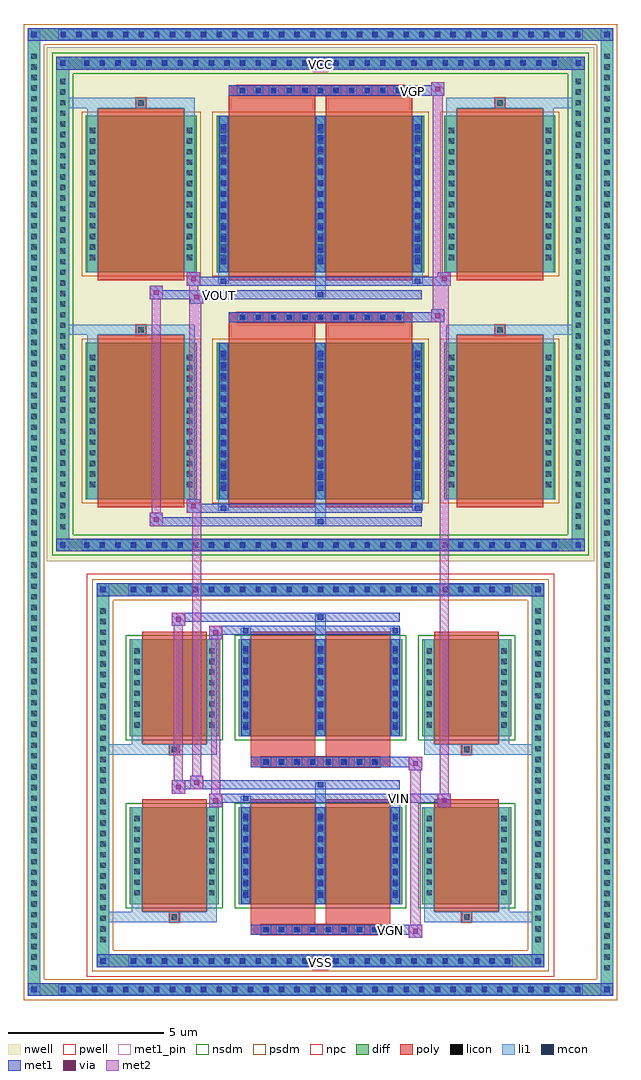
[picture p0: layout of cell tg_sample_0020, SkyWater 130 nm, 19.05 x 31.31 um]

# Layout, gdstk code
import gdstk
lib = gdstk.Library(unit=1e-6, precision=5e-09)
def R(c, l, rs):  # rectangles x0, y0, x1, y1
    for r in rs: c.add(gdstk.rectangle(r[:2], r[2:], *l))
def A(c, l, x, y, w, h, nx, ny, dx, dy):  # array of equal rectangles
    R(c, l, [(x+i*dx, y+j*dy, x+i*dx+w, y+j*dy+h) for i in range(nx) for j in range(ny)])
def P(c, l, *ps):  # polygons
    for p in ps: c.add(gdstk.Polygon(p, *l))
nwell = (64, 20)
pwell = (64, 44)
diff = (65, 20)
poly = (66, 20)
licon = (66, 44)
li1 = (67, 20)
mcon = (67, 44)
met1_pin = (68, 16)
met1 = (68, 20)
via = (68, 44)
met2 = (69, 20)
nsdm = (93, 44)
psdm = (94, 20)
npc = (95, 20)

tg_sample_0020 = lib.new_cell('tg_sample_0020')
R(tg_sample_0020, nwell, [(-8.785,6.87,8.785,23.36)])
R(tg_sample_0020, pwell, [(-7.495,-6.47,7.495,6.47)])
A(tg_sample_0020, diff, -8.455, -7.08, 0.41, 0.41, 34, 2, 0.5, 30.64)
A(tg_sample_0020, diff, -9.395, -6.38, 0.41, 0.41, 1, 87, 0, 0.34)
A(tg_sample_0020, diff, 8.985, -6.38, 0.41, 0.41, 1, 87, 0, 0.34)
A(tg_sample_0020, diff, -6.205, -6.16, 0.41, 0.41, 25, 2, 0.5, 11.91)
A(tg_sample_0020, diff, -7.185, -5.475, 0.41, 0.41, 1, 32, 0, 0.34)
A(tg_sample_0020, diff, 6.775, -5.475, 0.41, 0.41, 1, 32, 0, 0.34)
A(tg_sample_0020, diff, -7.705, 7.18, 0.41, 0.41, 31, 2, 0.5, 15.46)
A(tg_sample_0020, diff, -8.475, 7.77, 0.41, 0.41, 1, 43, 0, 0.34)
A(tg_sample_0020, diff, 8.065, 7.77, 0.41, 0.41, 1, 43, 0, 0.34)
R(tg_sample_0020, diff, [(-8.455,-7.08,8.455,-6.67), (-9.395,-6.38,-8.985,23.27), (8.985,-6.38,9.395,23.27), (-6.205,-6.16,6.205,-5.75), (-7.185,-5.475,-6.775,5.475), (6.775,-5.475,7.185,5.475), (-6.115,-4.135,-3.265,-1.025), (-2.625,-4.135,2.625,-1.025), (3.265,-4.135,6.115,-1.025), (-6.115,1.245,-3.265,4.355), (-2.625,1.245,2.625,4.355), (3.265,1.245,6.115,4.355), (-6.205,5.75,6.205,6.16), (-7.705,7.18,7.705,7.59), (-8.475,7.77,-8.065,22.46), (8.065,7.77,8.475,22.46), (-7.535,8.855,-3.975,13.875), (-3.335,8.855,3.335,13.875), (3.975,8.855,7.535,13.875), (-7.535,16.135,-3.975,21.155), (-3.335,16.135,3.335,21.155), (3.975,16.135,7.535,21.155), (-7.705,22.64,7.705,23.05), (-8.455,23.56,8.455,23.97)])
P(tg_sample_0020, diff, [(7.185,6.16),(-7.185,6.16),(-7.185,-5.75),(-6.775,-5.75),(-6.775,5.75),(6.775,5.75),(6.775,-5.75),(-6.775,-5.75),(-7.185,-5.75),(-7.185,-6.16),(7.185,-6.16)],
  [(9.395,23.97),(-9.395,23.97),(-9.395,-6.67),(-8.985,-6.67),(-8.985,23.56),(8.985,23.56),(8.985,-6.67),(-8.985,-6.67),(-9.395,-6.67),(-9.395,-7.08),(9.395,-7.08)],
  [(8.475,7.18),(-8.475,7.18),(-8.475,22.64),(-8.065,22.64),(-8.065,7.59),(8.065,7.59),(8.065,22.64),(-8.065,22.64),(-8.475,22.64),(-8.475,23.05),(8.475,23.05)])
A(tg_sample_0020, poly, -1.915, -5.12, 0.33, 0.33, 8, 2, 0.5, 5.38)
A(tg_sample_0020, poly, -2.665, 14.525, 0.33, 0.33, 11, 2, 0.5, 7.28)
R(tg_sample_0020, poly, [(-2.235,-5.12,2.235,-4.79), (-2.235,-4.79,-0.165,-4.385), (0.165,-4.79,2.235,-4.385), (-4.855,-4.715,-4.525,-4.385), (-4.855,-4.715,-4.525,-4.385), (4.525,-4.715,4.855,-4.385), (4.525,-4.715,4.855,-4.385), (-5.725,-4.385,-3.655,-0.775), (-2.235,-4.385,-0.165,-0.775), (0.165,-4.385,2.235,-0.775), (3.655,-4.385,5.725,-0.775), (-2.235,0.26,2.235,0.59), (-2.235,0.59,-0.165,0.995), (0.165,0.59,2.235,0.995), (-4.855,0.665,-4.525,0.995), (-4.855,0.665,-4.525,0.995), (4.525,0.665,4.855,0.995), (4.525,0.665,4.855,0.995), (-5.725,0.995,-3.655,4.605), (-2.235,0.995,-0.165,4.605), (0.165,0.995,2.235,4.605), (3.655,0.995,5.725,4.605), (-7.145,8.605,-4.365,14.125), (-2.945,8.605,-0.165,14.125), (0.165,8.605,2.945,14.125), (4.365,8.605,7.145,14.125), (-5.92,14.125,-5.59,14.455), (-5.92,14.125,-5.59,14.455), (-2.945,14.125,-0.165,14.525), (0.165,14.125,2.945,14.525), (5.59,14.125,5.92,14.455), (5.59,14.125,5.92,14.455), (-2.945,14.525,2.945,14.855), (-7.145,15.885,-4.365,21.405), (-2.945,15.885,-0.165,21.405), (0.165,15.885,2.945,21.405), (4.365,15.885,7.145,21.405), (-5.92,21.405,-5.59,21.735), (-5.92,21.405,-5.59,21.735), (-2.945,21.405,-0.165,21.805), (0.165,21.405,2.945,21.805), (5.59,21.405,5.92,21.735), (5.59,21.405,5.92,21.735), (-2.945,21.805,2.945,22.135)])
A(tg_sample_0020, licon, -8.335, -6.96, 0.17, 0.17, 34, 2, 0.5, 30.64)
A(tg_sample_0020, licon, -9.275, -6.26, 0.17, 0.17, 1, 87, 0, 0.34)
A(tg_sample_0020, licon, 9.105, -6.26, 0.17, 0.17, 1, 87, 0, 0.34)
A(tg_sample_0020, licon, -6.085, -6.04, 0.17, 0.17, 25, 2, 0.5, 11.91)
A(tg_sample_0020, licon, -7.065, -5.355, 0.17, 0.17, 1, 32, 0, 0.34)
A(tg_sample_0020, licon, 6.895, -5.355, 0.17, 0.17, 1, 32, 0, 0.34)
A(tg_sample_0020, licon, -1.835, -5.04, 0.17, 0.17, 8, 2, 0.5, 5.38)
A(tg_sample_0020, licon, -5.975, -3.855, 0.17, 0.17, 1, 8, 0, 0.34)
A(tg_sample_0020, licon, -3.575, -3.855, 0.17, 0.17, 1, 8, 0, 0.34)
A(tg_sample_0020, licon, -2.485, -3.855, 0.17, 0.17, 3, 8, 2.4, 0.34)
A(tg_sample_0020, licon, 3.405, -3.855, 0.17, 0.17, 1, 8, 0, 0.34)
A(tg_sample_0020, licon, 5.805, -3.855, 0.17, 0.17, 1, 8, 0, 0.34)
A(tg_sample_0020, licon, -5.975, 1.525, 0.17, 0.17, 1, 8, 0, 0.34)
A(tg_sample_0020, licon, -3.575, 1.525, 0.17, 0.17, 1, 8, 0, 0.34)
A(tg_sample_0020, licon, -2.485, 1.525, 0.17, 0.17, 3, 8, 2.4, 0.34)
A(tg_sample_0020, licon, 3.405, 1.525, 0.17, 0.17, 1, 8, 0, 0.34)
A(tg_sample_0020, licon, 5.805, 1.525, 0.17, 0.17, 1, 8, 0, 0.34)
A(tg_sample_0020, licon, -7.585, 7.3, 0.17, 0.17, 31, 2, 0.5, 15.46)
A(tg_sample_0020, licon, -8.355, 7.89, 0.17, 0.17, 1, 43, 0, 0.34)
A(tg_sample_0020, licon, 8.185, 7.89, 0.17, 0.17, 1, 43, 0, 0.34)
A(tg_sample_0020, licon, -7.395, 9.24, 0.17, 0.17, 1, 13, 0, 0.34)
A(tg_sample_0020, licon, -4.285, 9.24, 0.17, 0.17, 1, 13, 0, 0.34)
A(tg_sample_0020, licon, -3.195, 9.24, 0.17, 0.17, 3, 13, 3.11, 0.34)
A(tg_sample_0020, licon, 4.115, 9.24, 0.17, 0.17, 1, 13, 0, 0.34)
A(tg_sample_0020, licon, 7.225, 9.24, 0.17, 0.17, 1, 13, 0, 0.34)
A(tg_sample_0020, licon, -2.585, 14.605, 0.17, 0.17, 11, 2, 0.5, 7.28)
A(tg_sample_0020, licon, -7.395, 16.52, 0.17, 0.17, 1, 13, 0, 0.34)
A(tg_sample_0020, licon, -4.285, 16.52, 0.17, 0.17, 1, 13, 0, 0.34)
A(tg_sample_0020, licon, -3.195, 16.52, 0.17, 0.17, 3, 13, 3.11, 0.34)
A(tg_sample_0020, licon, 4.115, 16.52, 0.17, 0.17, 1, 13, 0, 0.34)
A(tg_sample_0020, licon, 7.225, 16.52, 0.17, 0.17, 1, 13, 0, 0.34)
R(tg_sample_0020, licon, [(-4.775,-4.635,-4.605,-4.465), (4.605,-4.635,4.775,-4.465), (-4.775,0.745,-4.605,0.915), (4.605,0.745,4.775,0.915), (-5.84,14.205,-5.67,14.375), (5.67,14.205,5.84,14.375), (-5.84,21.485,-5.67,21.655), (5.67,21.485,5.84,21.655)])
A(tg_sample_0020, li1, -8.415, -7.04, 0.33, 0.33, 34, 2, 0.5, 30.64)
A(tg_sample_0020, li1, -9.355, -6.34, 0.33, 0.33, 1, 87, 0, 0.34)
A(tg_sample_0020, li1, 9.025, -6.34, 0.33, 0.33, 1, 87, 0, 0.34)
A(tg_sample_0020, li1, -6.165, -6.12, 0.33, 0.33, 25, 2, 0.5, 11.91)
A(tg_sample_0020, li1, -7.145, -5.435, 0.33, 0.33, 1, 32, 0, 0.34)
A(tg_sample_0020, li1, 6.815, -5.435, 0.33, 0.33, 1, 32, 0, 0.34)
A(tg_sample_0020, li1, -1.915, -5.12, 0.33, 0.33, 8, 2, 0.5, 5.38)
A(tg_sample_0020, li1, -2.565, -4.135, 0.33, 3.11, 3, 2, 2.4, 5.38)
A(tg_sample_0020, li1, -6.055, -3.935, 0.33, 0.33, 1, 8, 0, 0.34)
A(tg_sample_0020, li1, -3.655, -3.935, 0.33, 0.33, 1, 8, 0, 0.34)
A(tg_sample_0020, li1, -2.565, -3.935, 0.33, 0.33, 3, 8, 2.4, 0.34)
A(tg_sample_0020, li1, 3.325, -3.935, 0.33, 0.33, 1, 8, 0, 0.34)
A(tg_sample_0020, li1, 5.725, -3.935, 0.33, 0.33, 1, 8, 0, 0.34)
A(tg_sample_0020, li1, -2.485, -3.925, 0.17, 0.17, 3, 8, 2.4, 0.36)
A(tg_sample_0020, li1, -2.485, -3.925, 0.17, 2.69, 3, 2, 2.4, 5.38)
A(tg_sample_0020, li1, -6.055, 1.445, 0.33, 0.33, 1, 8, 0, 0.34)
A(tg_sample_0020, li1, -3.655, 1.445, 0.33, 0.33, 1, 8, 0, 0.34)
A(tg_sample_0020, li1, -2.565, 1.445, 0.33, 0.33, 3, 8, 2.4, 0.34)
A(tg_sample_0020, li1, 3.325, 1.445, 0.33, 0.33, 1, 8, 0, 0.34)
A(tg_sample_0020, li1, 5.725, 1.445, 0.33, 0.33, 1, 8, 0, 0.34)
A(tg_sample_0020, li1, -2.485, 1.455, 0.17, 0.17, 3, 8, 2.4, 0.36)
A(tg_sample_0020, li1, -7.665, 7.22, 0.33, 0.33, 31, 2, 0.5, 15.46)
A(tg_sample_0020, li1, -8.435, 7.81, 0.33, 0.33, 1, 43, 0, 0.34)
A(tg_sample_0020, li1, 8.105, 7.81, 0.33, 0.33, 1, 43, 0, 0.34)
A(tg_sample_0020, li1, -3.275, 8.855, 0.33, 5.02, 3, 2, 3.11, 7.28)
A(tg_sample_0020, li1, -3.195, 9.12, 0.17, 0.17, 3, 13, 3.11, 0.36)
A(tg_sample_0020, li1, -3.195, 9.12, 0.17, 4.49, 3, 2, 3.11, 7.28)
A(tg_sample_0020, li1, -7.475, 9.16, 0.33, 0.33, 1, 13, 0, 0.34)
A(tg_sample_0020, li1, -4.365, 9.16, 0.33, 0.33, 1, 13, 0, 0.34)
A(tg_sample_0020, li1, -3.275, 9.16, 0.33, 0.33, 3, 13, 3.11, 0.34)
A(tg_sample_0020, li1, 4.035, 9.16, 0.33, 0.33, 1, 13, 0, 0.34)
A(tg_sample_0020, li1, 7.145, 9.16, 0.33, 0.33, 1, 13, 0, 0.34)
A(tg_sample_0020, li1, -2.665, 14.525, 0.33, 0.33, 11, 2, 0.5, 7.28)
A(tg_sample_0020, li1, -3.195, 16.4, 0.17, 0.17, 3, 13, 3.11, 0.36)
A(tg_sample_0020, li1, -7.475, 16.44, 0.33, 0.33, 1, 13, 0, 0.34)
A(tg_sample_0020, li1, -4.365, 16.44, 0.33, 0.33, 1, 13, 0, 0.34)
A(tg_sample_0020, li1, -3.275, 16.44, 0.33, 0.33, 3, 13, 3.11, 0.34)
A(tg_sample_0020, li1, 4.035, 16.44, 0.33, 0.33, 1, 13, 0, 0.34)
A(tg_sample_0020, li1, 7.145, 16.44, 0.33, 0.33, 1, 13, 0, 0.34)
R(tg_sample_0020, li1, [(-9.395,-7.08,-8.985,-6.67), (8.985,-7.08,9.395,-6.67), (-8.415,-7.04,8.415,-6.71), (-9.275,-6.96,-9.105,-6.79), (-9.275,-6.96,-9.105,-6.79), (9.105,-6.96,9.275,-6.79), (9.105,-6.96,9.275,-6.79), (-9.395,-6.67,-8.985,23.56), (8.985,-6.67,9.395,23.56), (-7.185,-6.16,-6.775,-5.75), (6.775,-6.16,7.185,-5.75), (-6.165,-6.12,6.165,-5.79), (-7.065,-6.04,-6.895,-5.87), (-7.065,-6.04,-6.895,-5.87), (6.895,-6.04,7.065,-5.87), (6.895,-6.04,7.065,-5.87), (-7.185,-5.75,-6.775,5.75), (6.775,-5.75,7.185,5.75), (-7.185,-4.715,-4.855,-4.385), (-6.055,-4.715,-4.855,-4.385), (-6.055,-4.715,-5.725,-4.135), (-4.855,-4.715,-4.525,-4.385), (-4.525,-4.715,-3.325,-4.385), (-3.655,-4.715,-3.325,-4.135), (3.325,-4.715,4.525,-4.385), (3.325,-4.715,3.655,-4.135), (4.525,-4.715,4.855,-4.385), (4.525,-4.715,7.185,-4.385), (4.855,-4.715,6.055,-4.385), (5.725,-4.715,6.055,-4.135), (-6.055,-4.135,-5.725,-1.025), (-3.655,-4.135,-3.325,-1.025), (3.325,-4.135,3.655,-1.025), (5.725,-4.135,6.055,-1.025), (-2.565,-1.025,-2.235,-0.65), (-0.165,-1.025,0.165,-0.22), (2.235,-1.025,2.565,-0.65), (-2.485,-0.82,-2.315,-0.65), (2.315,-0.82,2.485,-0.65), (-0.085,-0.39,0.085,-0.22), (-7.185,0.665,-4.855,0.995), (-6.055,0.665,-4.855,0.995), (-6.055,0.665,-5.725,1.245), (-4.855,0.665,-4.525,0.995), (-4.525,0.665,-3.325,0.995), (-3.655,0.665,-3.325,1.245), (3.325,0.665,4.525,0.995), (3.325,0.665,3.655,1.245), (4.525,0.665,4.855,0.995), (4.525,0.665,7.185,0.995), (4.855,0.665,6.055,0.995), (5.725,0.665,6.055,1.245), (-6.055,1.245,-5.725,4.355), (-3.655,1.245,-3.325,4.355), (3.325,1.245,3.655,4.355), (5.725,1.245,6.055,4.355), (-2.565,4.355,-2.235,4.73), (-0.165,4.355,0.165,5.16), (2.235,4.355,2.565,4.73), (-2.485,4.56,-2.315,4.73), (2.315,4.56,2.485,4.73), (-0.085,4.99,0.085,5.16), (-7.185,5.75,-6.775,6.16), (6.775,5.75,7.185,6.16), (-6.165,5.79,6.165,6.12), (-7.065,5.87,-6.895,6.04), (-7.065,5.87,-6.895,6.04), (6.895,5.87,7.065,6.04), (6.895,5.87,7.065,6.04), (-8.475,7.18,-8.065,7.59), (8.065,7.18,8.475,7.59), (-7.665,7.22,7.665,7.55), (-8.355,7.3,-8.185,7.47), (-8.355,7.3,-8.185,7.47), (8.185,7.3,8.355,7.47), (8.185,7.3,8.355,7.47), (-8.475,7.59,-8.065,22.64), (8.065,7.59,8.475,22.64), (-0.165,8.05,0.165,8.855), (-0.085,8.05,0.085,8.22), (-3.275,8.48,-2.945,8.855), (-3.195,8.48,-3.025,8.65), (2.945,8.48,3.275,8.855), (3.025,8.48,3.195,8.65), (-7.475,8.855,-7.145,13.875), (-4.365,8.855,-4.035,13.875), (4.035,8.855,4.365,13.875), (7.145,8.855,7.475,13.875), (-7.475,13.875,-7.145,14.455), (-4.365,13.875,-4.035,14.455), (4.035,13.875,4.365,14.455), (7.145,13.875,7.475,14.455), (-8.475,14.125,-5.92,14.455), (-7.475,14.125,-5.92,14.455), (-5.92,14.125,-5.59,14.455), (-5.59,14.125,-4.035,14.455), (4.035,14.125,5.59,14.455), (5.59,14.125,5.92,14.455), (5.59,14.125,8.475,14.455), (5.92,14.125,7.475,14.455), (-0.165,15.33,0.165,16.135), (-0.085,15.33,0.085,15.5), (-3.275,15.76,-2.945,16.135), (-3.195,15.76,-3.025,15.93), (2.945,15.76,3.275,16.135), (3.025,15.76,3.195,15.93), (-7.475,16.135,-7.145,21.155), (-4.365,16.135,-4.035,21.155), (4.035,16.135,4.365,21.155), (7.145,16.135,7.475,21.155), (-7.475,21.155,-7.145,21.735), (-4.365,21.155,-4.035,21.735), (4.035,21.155,4.365,21.735), (7.145,21.155,7.475,21.735), (-8.475,21.405,-5.92,21.735), (-7.475,21.405,-5.92,21.735), (-5.92,21.405,-5.59,21.735), (-5.59,21.405,-4.035,21.735), (4.035,21.405,5.59,21.735), (5.59,21.405,5.92,21.735), (5.59,21.405,8.475,21.735), (5.92,21.405,7.475,21.735), (-8.475,22.64,-8.065,23.05), (8.065,22.64,8.475,23.05), (-7.665,22.68,7.665,23.01), (-8.355,22.76,-8.185,22.93), (-8.355,22.76,-8.185,22.93), (8.185,22.76,8.355,22.93), (8.185,22.76,8.355,22.93), (-9.395,23.56,-8.985,23.97), (8.985,23.56,9.395,23.97), (-8.415,23.6,8.415,23.93), (-9.275,23.68,-9.105,23.85), (-9.275,23.68,-9.105,23.85), (9.105,23.68,9.275,23.85), (9.105,23.68,9.275,23.85)])
A(tg_sample_0020, mcon, -8.335, -6.96, 0.17, 0.17, 34, 2, 0.5, 30.64)
A(tg_sample_0020, mcon, -6.085, -6.04, 0.17, 0.17, 25, 2, 0.5, 11.91)
A(tg_sample_0020, mcon, -1.835, -5.04, 0.17, 0.17, 8, 2, 0.5, 5.38)
A(tg_sample_0020, mcon, -2.485, -3.925, 0.17, 0.17, 3, 8, 2.4, 0.36)
A(tg_sample_0020, mcon, -2.485, 1.455, 0.17, 0.17, 3, 8, 2.4, 0.36)
A(tg_sample_0020, mcon, -7.585, 7.3, 0.17, 0.17, 31, 2, 0.5, 15.46)
A(tg_sample_0020, mcon, -3.195, 9.12, 0.17, 0.17, 3, 13, 3.11, 0.36)
A(tg_sample_0020, mcon, -2.585, 14.605, 0.17, 0.17, 11, 2, 0.5, 7.28)
A(tg_sample_0020, mcon, -3.195, 16.4, 0.17, 0.17, 3, 13, 3.11, 0.36)
R(tg_sample_0020, mcon, [(-9.275,-6.96,-9.105,-6.79), (9.105,-6.96,9.275,-6.79), (-7.065,-6.04,-6.895,-5.87), (6.895,-6.04,7.065,-5.87), (-2.485,-0.82,-2.315,-0.65), (2.315,-0.82,2.485,-0.65), (-0.085,-0.39,0.085,-0.22), (-2.485,4.56,-2.315,4.73), (2.315,4.56,2.485,4.73), (-0.085,4.99,0.085,5.16), (-7.065,5.87,-6.895,6.04), (6.895,5.87,7.065,6.04), (-8.355,7.3,-8.185,7.47), (8.185,7.3,8.355,7.47), (-0.085,8.05,0.085,8.22), (-3.195,8.48,-3.025,8.65), (3.025,8.48,3.195,8.65), (-0.085,15.33,0.085,15.5), (-3.195,15.76,-3.025,15.93), (3.025,15.76,3.195,15.93), (-8.355,22.76,-8.185,22.93), (8.185,22.76,8.355,22.93), (-9.275,23.68,-9.105,23.85), (9.105,23.68,9.275,23.85)])
R(tg_sample_0020, met1_pin, [(-0.25,-6.25,0.25,-5.75), (2.1,-5.12,2.37,-4.85), (2.41,-0.88,2.68,-0.61), (-3.39,15.27,-3.12,15.54), (2.81,21.805,3.08,22.075), (-0.25,22.55,0.25,23.05)])
A(tg_sample_0020, met1, -8.395, -7.02, 0.29, 0.29, 34, 2, 0.5, 30.64)
A(tg_sample_0020, met1, -6.145, -6.1, 0.29, 0.29, 25, 2, 0.5, 11.91)
A(tg_sample_0020, met1, -1.895, -5.1, 0.29, 0.29, 8, 2, 0.5, 5.38)
A(tg_sample_0020, met1, -2.545, -4.135, 0.29, 3.11, 3, 2, 2.4, 5.38)
A(tg_sample_0020, met1, -2.545, -3.985, 0.29, 0.29, 3, 8, 2.4, 0.36)
A(tg_sample_0020, met1, -2.545, 1.395, 0.29, 0.29, 3, 8, 2.4, 0.36)
A(tg_sample_0020, met1, -7.645, 7.24, 0.29, 0.29, 31, 2, 0.5, 15.46)
A(tg_sample_0020, met1, -3.255, 8.855, 0.29, 5.02, 3, 2, 3.11, 7.28)
A(tg_sample_0020, met1, -3.255, 9.06, 0.29, 0.29, 3, 13, 3.11, 0.36)
A(tg_sample_0020, met1, -2.645, 14.545, 0.29, 0.29, 11, 2, 0.5, 7.28)
A(tg_sample_0020, met1, -3.255, 16.34, 0.29, 0.29, 3, 13, 3.11, 0.36)
R(tg_sample_0020, met1, [(-9.395,-7.08,-8.985,-6.67), (-9.395,-7.08,-8.985,-6.67), (-8.985,-7.08,8.985,-6.67), (8.985,-7.08,9.395,-6.67), (8.985,-7.08,9.395,-6.67), (-9.335,-7.02,-9.045,-6.73), (9.045,-7.02,9.335,-6.73), (-7.185,-6.16,-6.775,-5.75), (-7.185,-6.16,-6.775,-5.75), (-6.775,-6.16,6.775,-5.75), (6.775,-6.16,7.185,-5.75), (6.775,-6.16,7.185,-5.75), (-7.125,-6.1,-6.835,-5.81), (6.835,-6.1,7.125,-5.81), (2.835,-5.22,3.265,-4.79), (-2.235,-5.12,2.235,-4.79), (2.235,-5.12,3.265,-4.79), (-3.575,-1.02,-3.145,-0.59), (3.755,-1.02,4.185,-0.59), (-3.575,-0.88,-2.545,-0.59), (-2.545,-0.88,-2.255,-0.59), (-2.545,-0.88,2.545,-0.59), (2.255,-0.88,2.545,-0.59), (2.545,-0.88,4.185,-0.59), (-4.775,-0.59,-4.345,-0.16), (-4.775,-0.45,-2.545,-0.16), (-4.185,-0.45,-3.755,-0.02), (-4.185,-0.45,-2.545,-0.16), (-2.545,-0.45,2.545,-0.16), (-0.145,-0.45,0.145,-0.16), (2.835,0.16,3.265,0.59), (-2.235,0.26,2.235,0.59), (2.235,0.26,3.265,0.59), (-3.575,4.36,-3.145,4.79), (-3.575,4.5,-2.545,4.79), (-2.545,4.5,-2.255,4.79), (-2.545,4.5,2.545,4.79), (2.255,4.5,2.545,4.79), (-4.775,4.79,-4.345,5.22), (-4.775,4.93,-2.545,5.22), (-2.545,4.93,2.545,5.22), (-0.145,4.93,0.145,5.22), (-7.185,5.75,-6.775,6.16), (-7.185,5.75,-6.775,6.16), (-6.775,5.75,6.775,6.16), (6.775,5.75,7.185,6.16), (6.775,5.75,7.185,6.16), (-7.125,5.81,-6.835,6.1), (6.835,5.81,7.125,6.1), (-8.475,7.18,-8.065,7.59), (-8.475,7.18,-8.065,7.59), (-8.065,7.18,8.065,7.59), (8.065,7.18,8.475,7.59), (8.065,7.18,8.475,7.59), (-8.415,7.24,-8.125,7.53), (8.125,7.24,8.415,7.53), (-5.485,7.99,-5.055,8.42), (-5.485,7.99,-3.255,8.28), (-3.255,7.99,3.255,8.28), (-0.145,7.99,0.145,8.28), (-4.285,8.42,-3.855,8.85), (-4.285,8.42,-3.255,8.71), (-3.255,8.42,-2.965,8.71), (-3.255,8.42,3.255,8.71), (2.965,8.42,3.255,8.71), (-2.945,14.525,2.945,14.855), (2.945,14.525,3.975,14.855), (3.545,14.525,3.975,14.955), (-4.185,15.13,-3.755,15.56), (-5.485,15.27,-5.055,15.7), (-5.485,15.27,-3.255,15.56), (-4.185,15.27,-3.255,15.56), (-3.255,15.27,3.255,15.56), (-0.145,15.27,0.145,15.56), (-4.285,15.7,-3.855,16.13), (-4.285,15.7,-3.255,15.99), (-3.255,15.7,-2.965,15.99), (-3.255,15.7,3.255,15.99), (2.965,15.7,3.255,15.99), (3.255,15.7,4.185,15.99), (3.755,15.7,4.185,16.13), (-2.945,21.805,2.945,22.135), (2.945,21.805,3.975,22.135), (3.545,21.805,3.975,22.235), (-8.475,22.64,-8.065,23.05), (-8.475,22.64,-8.065,23.05), (-8.065,22.64,8.065,23.05), (8.065,22.64,8.475,23.05), (8.065,22.64,8.475,23.05), (-8.415,22.7,-8.125,22.99), (8.125,22.7,8.415,22.99), (-9.395,23.56,-8.985,23.97), (-9.395,23.56,-8.985,23.97), (-8.985,23.56,8.985,23.97), (8.985,23.56,9.395,23.97), (8.985,23.56,9.395,23.97), (-9.335,23.62,-9.045,23.91), (9.045,23.62,9.335,23.91)])
R(tg_sample_0020, via, [(2.975,-5.08,3.125,-4.93), (-3.435,-0.88,-3.285,-0.73), (3.895,-0.88,4.045,-0.73), (-4.635,-0.45,-4.485,-0.3), (-4.045,-0.31,-3.895,-0.16), (2.975,0.3,3.125,0.45), (-3.435,4.5,-3.285,4.65), (-4.635,4.93,-4.485,5.08), (-5.345,8.13,-5.195,8.28), (-4.145,8.56,-3.995,8.71), (3.685,14.665,3.835,14.815), (-4.045,15.27,-3.895,15.42), (-5.345,15.41,-5.195,15.56), (-4.145,15.84,-3.995,15.99), (3.895,15.84,4.045,15.99), (3.685,21.945,3.835,22.095)])
R(tg_sample_0020, met2, [(2.835,-5.22,3.265,-4.79), (2.885,-5.22,3.215,0.59), (3.215,-5.22,3.265,-4.79), (2.885,-5.17,3.215,-4.84), (-3.575,-1.02,-3.145,-0.59), (-3.505,-1.02,-3.215,4.79), (-3.215,-1.02,-3.145,-0.59), (3.755,-1.02,4.185,-0.59), (3.825,-1.02,4.115,16.13), (4.115,-1.02,4.185,-0.59), (-3.525,-0.97,-3.195,-0.64), (3.805,-0.97,4.135,-0.64), (-4.775,-0.59,-4.345,-0.16), (-4.705,-0.59,-4.415,5.22), (-4.415,-0.59,-4.345,-0.16), (-4.725,-0.54,-4.395,-0.21), (-4.185,-0.45,-3.755,-0.02), (-4.115,-0.45,-3.825,15.56), (-3.825,-0.45,-3.755,-0.02), (-4.135,-0.4,-3.805,-0.07), (2.835,0.16,3.265,0.59), (3.215,0.16,3.265,0.59), (2.885,0.21,3.215,0.54), (-3.575,4.36,-3.145,4.79), (-3.215,4.36,-3.145,4.79), (-3.525,4.41,-3.195,4.74), (-4.775,4.79,-4.345,5.22), (-4.415,4.79,-4.345,5.22), (-4.725,4.84,-4.395,5.17), (-5.485,7.99,-5.055,8.42), (-5.415,7.99,-5.125,15.7), (-5.125,7.99,-5.055,8.42), (-5.435,8.04,-5.105,8.37), (-4.285,8.42,-3.855,8.85), (-4.215,8.42,-3.925,16.13), (-3.925,8.42,-3.855,8.85), (-4.235,8.47,-3.905,8.8), (3.545,14.525,3.975,14.955), (3.595,14.525,3.925,22.235), (3.925,14.525,3.975,14.955), (3.595,14.575,3.925,14.905), (-4.185,15.13,-3.755,15.56), (-3.825,15.13,-3.755,15.56), (-4.135,15.18,-3.805,15.51), (-5.485,15.27,-5.055,15.7), (-5.125,15.27,-5.055,15.7), (-5.435,15.32,-5.105,15.65), (-4.285,15.7,-3.855,16.13), (-3.925,15.7,-3.855,16.13), (3.755,15.7,4.185,16.13), (4.115,15.7,4.185,16.13), (-4.235,15.75,-3.905,16.08), (3.805,15.75,4.135,16.08), (3.545,21.805,3.975,22.235), (3.925,21.805,3.975,22.235), (3.595,21.855,3.925,22.185)])
R(tg_sample_0020, nsdm, [(-6.245,-4.265,-3.135,-0.895), (-2.755,-4.265,2.755,-0.895), (3.135,-4.265,6.245,-0.895), (-6.245,1.115,-3.135,4.485), (-2.755,1.115,2.755,4.485), (3.135,1.115,6.245,4.485)])
P(tg_sample_0020, nsdm, [(8.605,7.05),(-8.605,7.05),(-8.605,22.51),(-7.935,22.51),(-7.935,7.72),(7.935,7.72),(7.935,22.51),(-7.935,22.51),(-8.605,22.51),(-8.605,23.18),(8.605,23.18)])
R(tg_sample_0020, psdm, [(-7.665,8.725,-3.845,14.005), (-3.465,8.725,3.465,14.005), (3.845,8.725,7.665,14.005), (-7.665,16.005,-3.845,21.285), (-3.465,16.005,3.465,21.285), (3.845,16.005,7.665,21.285)])
P(tg_sample_0020, psdm, [(7.315,6.29),(-7.315,6.29),(-7.315,-5.62),(-6.645,-5.62),(-6.645,5.62),(6.645,5.62),(6.645,-5.62),(-6.645,-5.62),(-7.315,-5.62),(-7.315,-6.29),(7.315,-6.29)],
  [(9.525,24.1),(-9.525,24.1),(-9.525,-6.54),(-8.855,-6.54),(-8.855,23.43),(8.855,23.43),(8.855,-6.54),(-8.855,-6.54),(-9.525,-6.54),(-9.525,-7.21),(9.525,-7.21)])
A(tg_sample_0020, npc, -1.935, -5.14, 0.37, 0.37, 8, 2, 0.5, 5.38)
A(tg_sample_0020, npc, -2.685, 14.505, 0.37, 0.37, 11, 2, 0.5, 7.28)
R(tg_sample_0020, npc, [(-1.935,-5.14,-1.065,-4.77), (-1.935,-5.14,-1.065,-4.77), (-1.435,-5.14,-0.565,-4.77), (-1.435,-5.14,-0.565,-4.77), (-0.935,-5.14,-0.065,-4.77), (-0.935,-5.14,-0.065,-4.77), (-0.435,-5.14,0.435,-4.77), (-0.435,-5.14,0.435,-4.77), (0.065,-5.14,0.935,-4.77), (0.065,-5.14,0.935,-4.77), (0.565,-5.14,1.435,-4.77), (0.565,-5.14,1.435,-4.77), (1.065,-5.14,1.935,-4.77), (1.065,-5.14,1.935,-4.77), (-4.875,-4.735,-4.505,-4.365), (4.505,-4.735,4.875,-4.365), (-1.935,0.24,-1.065,0.61), (-1.935,0.24,-1.065,0.61), (-1.435,0.24,-0.565,0.61), (-1.435,0.24,-0.565,0.61), (-0.935,0.24,-0.065,0.61), (-0.935,0.24,-0.065,0.61), (-0.435,0.24,0.435,0.61), (-0.435,0.24,0.435,0.61), (0.065,0.24,0.935,0.61), (0.065,0.24,0.935,0.61), (0.565,0.24,1.435,0.61), (0.565,0.24,1.435,0.61), (1.065,0.24,1.935,0.61), (1.065,0.24,1.935,0.61), (-4.875,0.645,-4.505,1.015), (4.505,0.645,4.875,1.015), (-5.94,14.105,-5.57,14.475), (5.57,14.105,5.94,14.475), (-2.685,14.505,-1.815,14.875), (-2.685,14.505,-1.815,14.875), (-2.185,14.505,-1.315,14.875), (-2.185,14.505,-1.315,14.875), (-1.685,14.505,-0.815,14.875), (-1.685,14.505,-0.815,14.875), (-1.185,14.505,-0.315,14.875), (-1.185,14.505,-0.315,14.875), (-0.685,14.505,0.185,14.875), (-0.685,14.505,0.185,14.875), (-0.185,14.505,0.685,14.875), (-0.185,14.505,0.685,14.875), (0.315,14.505,1.185,14.875), (0.315,14.505,1.185,14.875), (0.815,14.505,1.685,14.875), (0.815,14.505,1.685,14.875), (1.315,14.505,2.185,14.875), (1.315,14.505,2.185,14.875), (1.815,14.505,2.685,14.875), (1.815,14.505,2.685,14.875), (-5.94,21.385,-5.57,21.755), (5.57,21.385,5.94,21.755), (-2.685,21.785,-1.815,22.155), (-2.685,21.785,-1.815,22.155), (-2.185,21.785,-1.315,22.155), (-2.185,21.785,-1.315,22.155), (-1.685,21.785,-0.815,22.155), (-1.685,21.785,-0.815,22.155), (-1.185,21.785,-0.315,22.155), (-1.185,21.785,-0.315,22.155), (-0.685,21.785,0.185,22.155), (-0.685,21.785,0.185,22.155), (-0.185,21.785,0.685,22.155), (-0.185,21.785,0.685,22.155), (0.315,21.785,1.185,22.155), (0.315,21.785,1.185,22.155), (0.815,21.785,1.685,22.155), (0.815,21.785,1.685,22.155), (1.315,21.785,2.185,22.155), (1.315,21.785,2.185,22.155), (1.815,21.785,2.685,22.155), (1.815,21.785,2.685,22.155)])
tg_sample_0020.add(gdstk.Label('VIN', (2.545,-0.745), layer=68, texttype=5))
tg_sample_0020.add(gdstk.Label('VGN', (2.235,-4.985), layer=68, texttype=5))
tg_sample_0020.add(gdstk.Label('VGP', (2.945,21.94), layer=68, texttype=5))
tg_sample_0020.add(gdstk.Label('VSS', (0,-6), layer=68, texttype=5))
tg_sample_0020.add(gdstk.Label('VCC', (0,22.8), layer=68, texttype=5))
tg_sample_0020.add(gdstk.Label('VOUT', (-3.255,15.405), layer=68, texttype=5))

lib.write_gds('tg_sample_0020.gds')
